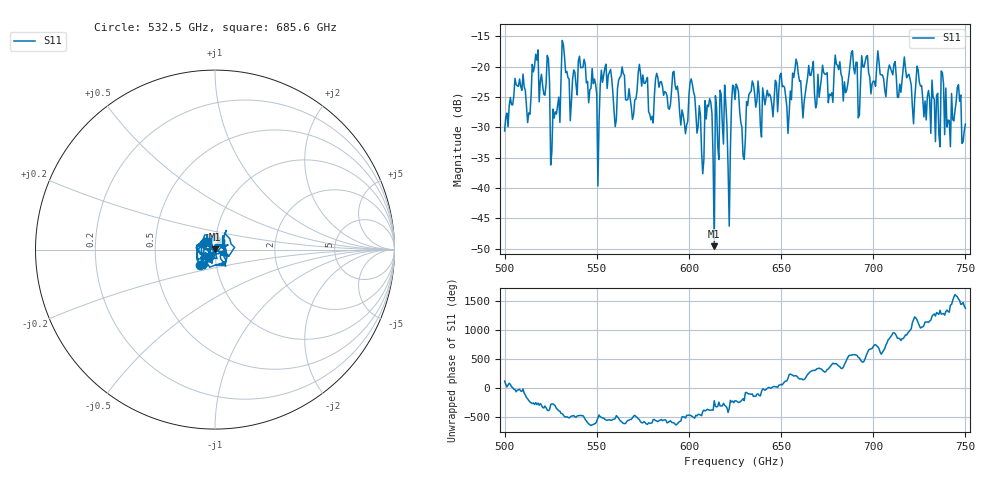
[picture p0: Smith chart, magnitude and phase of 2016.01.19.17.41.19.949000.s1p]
!Created with skrf (http://scikit-rf.org).
# GHz S RI R 50.0
!freq ReS11 ImS11
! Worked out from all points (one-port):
!   401 points, 500 GHz to 750 GHz, reference 50 ohm
!   lowest |S11| = -49.6 dB at 613.8 GHz (marker M1), VSWR 1.01, Z = 49.7 + j0.214 ohm
!   |S11| at or under -10 dB: start of sweep to end of sweep
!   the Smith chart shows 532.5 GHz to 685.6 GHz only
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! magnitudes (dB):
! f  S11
! 500 GHz  -30.6
! 506.9 GHz  -23.2
! 513.1 GHz  -27.6
! 516.9 GHz  -18.0
! 523.1 GHz  -18.1
! 526.2 GHz  -27.0
! 531.2 GHz  -15.7
! 550.6 GHz  -39.7
! 553.8 GHz  -21.4
! 560 GHz  -29.9
! 562.5 GHz  -21.8
! 579.4 GHz  -28.8
! 583.1 GHz  -21.8
! 593.8 GHz  -23.2
! 598.1 GHz  -31.1
! 601.9 GHz  -22.9
! 606.9 GHz  -34.0
! 611.2 GHz  -25.3
! 613.8 GHz  -49.6
! 618.1 GHz  -29.5
! 621.9 GHz  -46.3
! 625 GHz  -25.5
! 629.4 GHz  -34.8
! 633.8 GHz  -24.1
! 656.2 GHz  -21.1
! 687.5 GHz  -19.5
! 718.8 GHz  -21.5
! 750 GHz  -29.5
